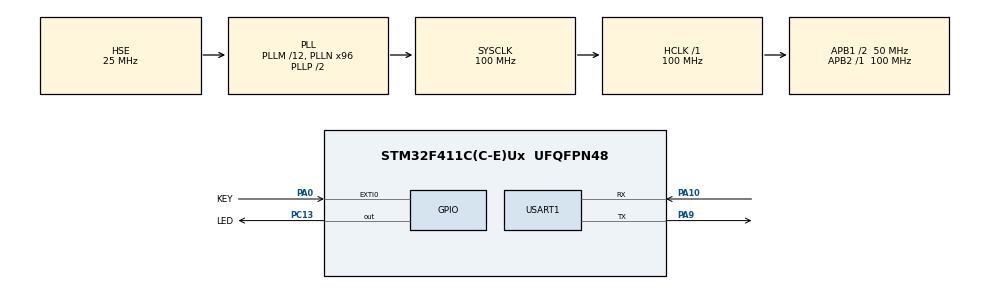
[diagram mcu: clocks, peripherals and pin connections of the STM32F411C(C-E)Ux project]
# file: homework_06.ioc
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FREERTOS.Tasks01=defaultTask,24,128,StartDefaultTask,Default,NULL,Dynamic,NULL,NULL
Mcu.Family=STM32F4
Mcu.Name=STM32F411C(C-E)Ux
Mcu.Package=UFQFPN48
NVIC.EXTI0_IRQn=true\:5\:0\:false\:false\:true\:true\:true\:true\:true
NVIC.PriorityGroup=NVIC_PRIORITYGROUP_4
NVIC.TIM1_UP_TIM10_IRQn=true\:15\:0\:false\:false\:true\:false\:false\:true\:true
NVIC.TimeBase=TIM1_UP_TIM10_IRQn
NVIC.TimeBaseIP=TIM1
PA0-WKUP.GPIO_Label=KEY
PA0-WKUP.GPIO_ModeDefaultEXTI=GPIO_MODE_IT_FALLING
PA0-WKUP.GPIO_PuPd=GPIO_PULLUP
PA0-WKUP.Signal=GPXTI0
PA10.Mode=Asynchronous
PA10.Signal=USART1_RX
PA13.Mode=Serial_Wire
PA13.Signal=SYS_JTMS-SWDIO
PA14.Mode=Serial_Wire
PA14.Signal=SYS_JTCK-SWCLK
PA9.Mode=Asynchronous
PA9.Signal=USART1_TX
PC13-ANTI_TAMP.GPIO_Label=LED
PC13-ANTI_TAMP.Signal=GPIO_Output
PC14-OSC32_IN.Mode=LSE-External-Oscillator
PC14-OSC32_IN.Signal=RCC_OSC32_IN
PC15-OSC32_OUT.Mode=LSE-External-Oscillator
PC15-OSC32_OUT.Signal=RCC_OSC32_OUT
PH0\ -\ OSC_IN.Mode=HSE-External-Oscillator
PH0\ -\ OSC_IN.Signal=RCC_OSC_IN
PH1\ -\ OSC_OUT.Mode=HSE-External-Oscillator
PH1\ -\ OSC_OUT.Signal=RCC_OSC_OUT
ProjectManager.HeapSize=0x200
ProjectManager.StackSize=0x400
ProjectManager.TargetToolchain=MDK-ARM V5.32
RCC.48MHZClocksFreq_Value=50000000
RCC.AHBFreq_Value=100000000
RCC.APB1CLKDivider=RCC_HCLK_DIV2
RCC.APB1Freq_Value=50000000
RCC.APB1TimFreq_Value=100000000
RCC.APB2Freq_Value=100000000
RCC.APB2TimFreq_Value=100000000
RCC.CortexFreq_Value=100000000
RCC.HCLKFreq_Value=100000000
RCC.HSE_VALUE=25000000
RCC.HSI_VALUE=16000000
RCC.PLLM=12
RCC.PLLN=96
RCC.PLLSourceVirtual=RCC_PLLSOURCE_HSE
RCC.SYSCLKFreq_VALUE=100000000
RCC.SYSCLKSource=RCC_SYSCLKSOURCE_PLLCLK
RCC.VCOOutputFreq_Value=200000000
USART1.VirtualMode=VM_ASYNC
VP_FREERTOS_VS_CMSIS_V2.Mode=CMSIS_V2
VP_SYS_VS_tim1.Mode=TIM1
board=custom

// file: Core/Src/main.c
/* USER CODE BEGIN Header */
/**
  ******************************************************************************
  * @file           : main.c
  * @brief          : Main program body
  ******************************************************************************
  * @attention
  *
  * Copyright (c) 2024 STMicroelectronics.
  * All rights reserved.
  *
  * This software is licensed under terms that can be found in the LICENSE file
  * in the root directory of this software component.
  * If no LICENSE file comes with this software, it is provided AS-IS.
  *
  ******************************************************************************
  */
/* USER CODE END Header */
#include "main.h"
#include "cmsis_os.h"

/* USER CODE BEGIN Includes */
#include <stdio.h>
#include "bsp_led.h"
#include "bsp_key_irq.h"

/* USER CODE END Includes */

UART_HandleTypeDef huart1;

/* Definitions for defaultTask */
osThreadId_t defaultTaskHandle;
const osThreadAttr_t defaultTask_attributes = {
  .name = "defaultTask",
  .stack_size = 128 * 4,
  .priority = (osPriority_t) osPriorityNormal,
};

void SystemClock_Config(void);
static void MX_GPIO_Init(void);
static void MX_USART1_UART_Init(void);
void StartDefaultTask(void *argument);

/* USER CODE BEGIN PFP */
 #ifdef __GNUC__
     #define PUTCHAR_PROTOTYPE int _io_putchar(int ch)
 #else
     #define PUTCHAR_PROTOTYPE int fputc(int ch, FILE *f)
 #endif /* __GNUC__*/

 /******************************************************************
     *@brief  Retargets the C library printf  function to the USART.
     *@param  None
     *@retval None
 ******************************************************************/
 PUTCHAR_PROTOTYPE
 {
     HAL_UART_Transmit(&huart1, (uint8_t *)&ch,1,0xFFFF);
     return ch;
 }

/**
  * @brief  key thread function
  * @param  void * argument
  * @retval void
*/

/* USER CODE END PFP */

int main(void)
{

  /* MCU Configuration--------------------------------------------------------*/

  /* Reset of all peripherals, Initializes the Flash interface and the Systick. */
  HAL_Init();

  /* Configure the system clock */
  SystemClock_Config();

  /* Initialize all configured peripherals */
  MX_GPIO_Init();
  MX_USART1_UART_Init();

  /* Init scheduler */
  osKernelInitialize();

  /* Create the thread(s) */
  /* creation of defaultTask */
  defaultTaskHandle = osThreadNew(StartDefaultTask, NULL, &defaultTask_attributes);

  /* USER CODE BEGIN RTOS_THREADS */
  /* add threads, ... */
  key_TaskHandle = osThreadNew(key_task_func, NULL, &key_Task_attributes);
  led_TaskHandle = osThreadNew(led_task_func, NULL, &led_Task_attributes);
  /* USER CODE END RTOS_THREADS */

  /* Start scheduler */
  osKernelStart();

  /* We should never get here as control is now taken by the scheduler */

  /* Infinite loop */
  while (1)
  {

  }
}

void SystemClock_Config(void)
{
  RCC_OscInitTypeDef RCC_OscInitStruct = {0};
  RCC_ClkInitTypeDef RCC_ClkInitStruct = {0};

  /** Configure the main internal regulator output voltage
  */
  __HAL_RCC_PWR_CLK_ENABLE();
  __HAL_PWR_VOLTAGESCALING_CONFIG(PWR_REGULATOR_VOLTAGE_SCALE1);

  /** Initializes the RCC Oscillators according to the specified parameters
  * in the RCC_OscInitTypeDef structure.
  */
  RCC_OscInitStruct.OscillatorType = RCC_OSCILLATORTYPE_HSE;
  RCC_OscInitStruct.HSEState = RCC_HSE_ON;
  RCC_OscInitStruct.PLL.PLLState = RCC_PLL_ON;
  RCC_OscInitStruct.PLL.PLLSource = RCC_PLLSOURCE_HSE;
  RCC_OscInitStruct.PLL.PLLM = 12;
  RCC_OscInitStruct.PLL.PLLN = 96;
  RCC_OscInitStruct.PLL.PLLP = RCC_PLLP_DIV2;
  RCC_OscInitStruct.PLL.PLLQ = 4;
  if (HAL_RCC_OscConfig(&RCC_OscInitStruct) != HAL_OK)
  {
    Error_Handler();
  }

  /** Initializes the CPU, AHB and APB buses clocks
  */
  RCC_ClkInitStruct.ClockType = RCC_CLOCKTYPE_HCLK|RCC_CLOCKTYPE_SYSCLK
                              |RCC_CLOCKTYPE_PCLK1|RCC_CLOCKTYPE_PCLK2;
  RCC_ClkInitStruct.SYSCLKSource = RCC_SYSCLKSOURCE_PLLCLK;
  RCC_ClkInitStruct.AHBCLKDivider = RCC_SYSCLK_DIV1;
  RCC_ClkInitStruct.APB1CLKDivider = RCC_HCLK_DIV2;
  RCC_ClkInitStruct.APB2CLKDivider = RCC_HCLK_DIV1;

  if (HAL_RCC_ClockConfig(&RCC_ClkInitStruct, FLASH_LATENCY_3) != HAL_OK)
  {
    Error_Handler();
  }
}

static void MX_USART1_UART_Init(void)
{

  huart1.Instance = USART1;
  huart1.Init.BaudRate = 115200;
  huart1.Init.WordLength = UART_WORDLENGTH_8B;
  huart1.Init.StopBits = UART_STOPBITS_1;
  huart1.Init.Parity = UART_PARITY_NONE;
  huart1.Init.Mode = UART_MODE_TX_RX;
  huart1.Init.HwFlowCtl = UART_HWCONTROL_NONE;
  huart1.Init.OverSampling = UART_OVERSAMPLING_16;
  if (HAL_UART_Init(&huart1) != HAL_OK)
  {
    Error_Handler();
  }

}

static void MX_GPIO_Init(void)
{
  GPIO_InitTypeDef GPIO_InitStruct = {0};

  /* GPIO Ports Clock Enable */
  __HAL_RCC_GPIOC_CLK_ENABLE();
  __HAL_RCC_GPIOH_CLK_ENABLE();
  __HAL_RCC_GPIOA_CLK_ENABLE();

  /*Configure GPIO pin Output Level */
  HAL_GPIO_WritePin(LED_GPIO_Port, LED_Pin, GPIO_PIN_RESET);

  /*Configure GPIO pin : LED_Pin */
  GPIO_InitStruct.Pin = LED_Pin;
  GPIO_InitStruct.Mode = GPIO_MODE_OUTPUT_PP;
  GPIO_InitStruct.Pull = GPIO_NOPULL;
  GPIO_InitStruct.Speed = GPIO_SPEED_FREQ_LOW;
  HAL_GPIO_Init(LED_GPIO_Port, &GPIO_InitStruct);

  /*Configure GPIO pin : KEY_Pin */
  GPIO_InitStruct.Pin = KEY_Pin;
  GPIO_InitStruct.Mode = GPIO_MODE_IT_FALLING;
  GPIO_InitStruct.Pull = GPIO_PULLUP;
  HAL_GPIO_Init(KEY_GPIO_Port, &GPIO_InitStruct);

  /* EXTI interrupt init*/
  HAL_NVIC_SetPriority(EXTI0_IRQn, 5, 0);
  HAL_NVIC_EnableIRQ(EXTI0_IRQn);

}

void StartDefaultTask(void *argument)
{
  /* USER CODE BEGIN 5 */
    /*********************APP Task**********************************************/
    /**     Variables (in stack)            */
    //led_operation_t    led_ops_event =   LED_INITED_VALUE;
    /**     Variables (in stack)            */
    /* Infinite loop */

    osDelay(500);

#if 0 // Unity Test #1 error fetch
    key_press_event_t key_press_event =
    {
        .edge_type    = RASING,
        .trigger_tick = HAL_GetTick()
    };

    if ( NULL == inter_key_queue )
    {
        printf( "inter_key_queue not created"
                " at [%d] tick \r\n",
                               HAL_GetTick());
    }
    if ( pdTRUE == xQueueSendToFront(   inter_key_queue,
                                        &key_press_event,
                                       0))
    {
        printf( "key_press_event send Raising_event successfully"
                " at [%d] tick \r\n",
                               HAL_GetTick());
    }
#endif // End of Test #1

#if 0 // Unity Test #2 filting fetch and short press
    key_press_event_t key_press_event_1 =
    {
        .edge_type    = FAILING,
        .trigger_tick = HAL_GetTick()
    };

    if ( NULL == inter_key_queue )
    {
        printf( "inter_key_queue not created"
                " at [%d] tick \r\n",
                               HAL_GetTick());
    }
    if ( pdTRUE == xQueueSendToFront(    inter_key_queue,
                                      &key_press_event_1,
                                                      0))
    {
        printf( "key_press_event send Raising_event successfully"
                " at [%d] tick \r\n",
                               HAL_GetTick());
    }

    HAL_Delay(20);

    key_press_event_t key_press_event_2 =
    {
        .edge_type    = RASING,
        .trigger_tick = HAL_GetTick()
    };

    if ( NULL == inter_key_queue )
    {
        printf( "inter_key_queue not created"
                " at [%d] tick \r\n",
                               HAL_GetTick());
    }
    if ( pdTRUE == xQueueSendToFront(    inter_key_queue,
                                      &key_press_event_2,
                                                       0))
    {
        printf( "key_press_event send Raising_event successfully"
                " at [%d] tick \r\n",
                               HAL_GetTick());
    }

#endif // End of Test #2

#if 0 // Unity Test #3 long press
    key_press_event_t key_press_event_1 =
    {
        .edge_type    = FAILING,
        .trigger_tick = HAL_GetTick()
    };

    if ( NULL == inter_key_queue )
    {
        printf( "inter_key_queue not created"
                " at [%d] tick \r\n",
                               HAL_GetTick());
    }
    if ( pdTRUE == xQueueSendToFront(    inter_key_queue,
                                      &key_press_event_1,
                                                      0))
    {
        printf( "key_press_event send Raising_event successfully"
                " at [%d] tick \r\n",
                               HAL_GetTick());
    }

    HAL_Delay(600);

    key_press_event_t key_press_event_2 =
    {
        .edge_type    = RASING,
        .trigger_tick = HAL_GetTick()
    };

    if ( NULL == inter_key_queue )
    {
        printf( "inter_key_queue not created"
                " at [%d] tick \r\n",
                               HAL_GetTick());
    }
    if ( pdTRUE == xQueueSendToFront(    inter_key_queue,
                                      &key_press_event_2,
                                                       0))
    {
        printf( "key_press_event send Raising_event successfully"
                " at [%d] tick \r\n",
                               HAL_GetTick());
    }

#endif // End of Test #3

    for(;;)
    {
        printf("APP task is living\r\n");

        osDelay(100);
    }
    /*********************APP Task**********************************************/
  /* USER CODE END 5 */
}

void HAL_TIM_PeriodElapsedCallback(TIM_HandleTypeDef *htim)
{
  if (htim->Instance == TIM1) {
    HAL_IncTick();
  }
}

void Error_Handler(void)
{
  __disable_irq();
  while (1)
  {
  }
}
